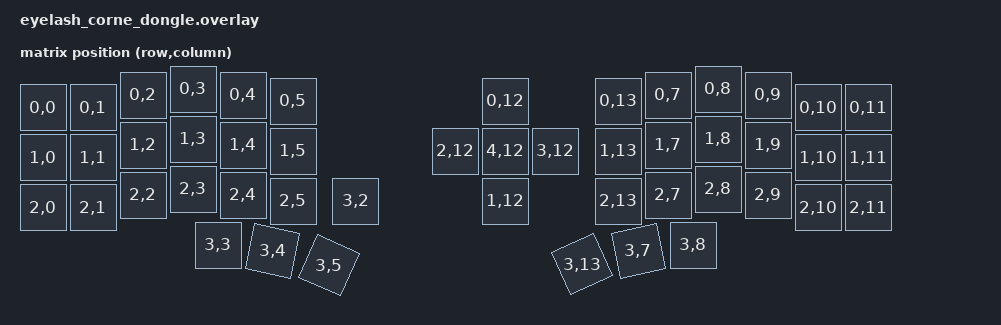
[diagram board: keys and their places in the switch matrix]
/*
 *
 * Copyright (c) 2026 The ZMK Contributors
 * SPDX-License-Identifier: MIT
 *
 */

#include <dt-bindings/zmk/matrix_transform.h>
#include <physical_layouts.dtsi>

/ {
    chosen {
        zmk,kscan = &mock_kscan;
        zmk,physical-layout = &default_layout;
    };

    mock_kscan: mock_kscan_0 {
        compatible = "zmk,kscan-mock";
        columns = <0>;
        rows = <0>;
        events = <0>;
    };

    /*
     * The physical encoder lives on the left peripheral half. The central
     * side only reserves sensor index 0 here so ZMK_KEYMAP_HAS_SENSORS is
     * true and the split sensor notification path is compiled in; the actual
     * encoder events arrive over the split BLE transport. The referenced
     * node is disabled on purpose: no physical sensor exists on the dongle,
     * and remote sensor events never touch the local device array.
     */
    dongle_sensor: dongle_sensor {
        compatible = "alps,ec11";
        status = "disabled";
    };

    sensors {
        compatible = "zmk,keymap-sensors";
        triggers-per-rotation = <20>;
        sensors = <&dongle_sensor>;
    };

    /* default_transform copied verbatim from boards/arm/eyelash_corne/eyelash_corne.dtsi */
    default_transform: keymap_transform_0 {
        compatible = "zmk,matrix-transform";
        columns = <14>;
        rows = <5>;
                    map = <
            RC(0,0) RC(0,1) RC(0,2) RC(0,3) RC(0,4) RC(0,5)                      RC(0,12)           RC(0,13) RC(0,7) RC(0,8) RC(0,9) RC(0,10) RC(0,11)
            RC(1,0) RC(1,1) RC(1,2) RC(1,3) RC(1,4) RC(1,5)             RC(2,12) RC(4,12) RC(3,12)  RC(1,13) RC(1,7) RC(1,8) RC(1,9) RC(1,10) RC(1,11)
            RC(2,0) RC(2,1) RC(2,2) RC(2,3) RC(2,4) RC(2,5) RC(3,2)              RC(1,12)           RC(2,13) RC(2,7) RC(2,8) RC(2,9) RC(2,10) RC(2,11)
                                    RC(3,3) RC(3,4) RC(3,5)                                         RC(3,13) RC(3,7) RC(3,8)
        >;
    };

    /* default_layout copied verbatim from boards/arm/eyelash_corne/eyelash_corne-layouts.dtsi */
    default_layout: default_layout {
        compatible = "zmk,physical-layout";
        display-name = "Layout";

        transform = <&default_transform>;

        keys  //                     w   h    x    y     rot    rx    r
            = <&key_physical_attrs 100 100    0   37       0     0     0>
            , <&key_physical_attrs 100 100  100   37       0     0     0>
            , <&key_physical_attrs 100 100  200   12       0     0     0>
            , <&key_physical_attrs 100 100  300    0       0     0     0>
            , <&key_physical_attrs 100 100  400   12       0     0     0>
            , <&key_physical_attrs 100 100  500   24       0     0     0>
            , <&key_physical_attrs 100 100  925   24       0     0     0>
            , <&key_physical_attrs 100 100 1150   24       0     0     0>
            , <&key_physical_attrs 100 100 1250   12       0     0     0>
            , <&key_physical_attrs 100 100 1350    0       0     0     0>
            , <&key_physical_attrs 100 100 1450   12       0     0     0>
            , <&key_physical_attrs 100 100 1550   37       0     0     0>
            , <&key_physical_attrs 100 100 1650   37       0     0     0>
            , <&key_physical_attrs 100 100    0  137       0     0     0>
            , <&key_physical_attrs 100 100  100  137       0     0     0>
            , <&key_physical_attrs 100 100  200  112       0     0     0>
            , <&key_physical_attrs 100 100  300  100       0     0     0>
            , <&key_physical_attrs 100 100  400  112       0     0     0>
            , <&key_physical_attrs 100 100  500  124       0     0     0>
            , <&key_physical_attrs 100 100  825  124       0     0     0>
            , <&key_physical_attrs 100 100  925  124       0     0     0>
            , <&key_physical_attrs 100 100 1025  124       0     0     0>
            , <&key_physical_attrs 100 100 1150  124       0     0     0>
            , <&key_physical_attrs 100 100 1250  112       0     0     0>
            , <&key_physical_attrs 100 100 1350  100       0     0     0>
            , <&key_physical_attrs 100 100 1450  112       0     0     0>
            , <&key_physical_attrs 100 100 1550  137       0     0     0>
            , <&key_physical_attrs 100 100 1650  137       0     0     0>
            , <&key_physical_attrs 100 100    0  237       0     0     0>
            , <&key_physical_attrs 100 100  100  237       0     0     0>
            , <&key_physical_attrs 100 100  200  212       0     0     0>
            , <&key_physical_attrs 100 100  300  200       0     0     0>
            , <&key_physical_attrs 100 100  400  212       0     0     0>
            , <&key_physical_attrs 100 100  500  224       0     0     0>
            , <&key_physical_attrs 100 100  625  224       0     0     0>
            , <&key_physical_attrs 100 100  925  224       0     0     0>
            , <&key_physical_attrs 100 100 1150  224       0     0     0>
            , <&key_physical_attrs 100 100 1250  212       0     0     0>
            , <&key_physical_attrs 100 100 1350  200       0     0     0>
            , <&key_physical_attrs 100 100 1450  212       0     0     0>
            , <&key_physical_attrs 100 100 1550  237       0     0     0>
            , <&key_physical_attrs 100 100 1650  237       0     0     0>
            , <&key_physical_attrs 100 100  350  312       0     0     0>
            , <&key_physical_attrs 100 100  450  312    1200   450   412>
            , <&key_physical_attrs 100 100  550  312    2400   515   433>
            , <&key_physical_attrs 100 100 1100  312 (-2400)  1230   433>
            , <&key_physical_attrs 100 100 1200  312 (-1200)  1300   412>
            , <&key_physical_attrs 100 100 1300  312       0     0     0>
            ;
    };
};
